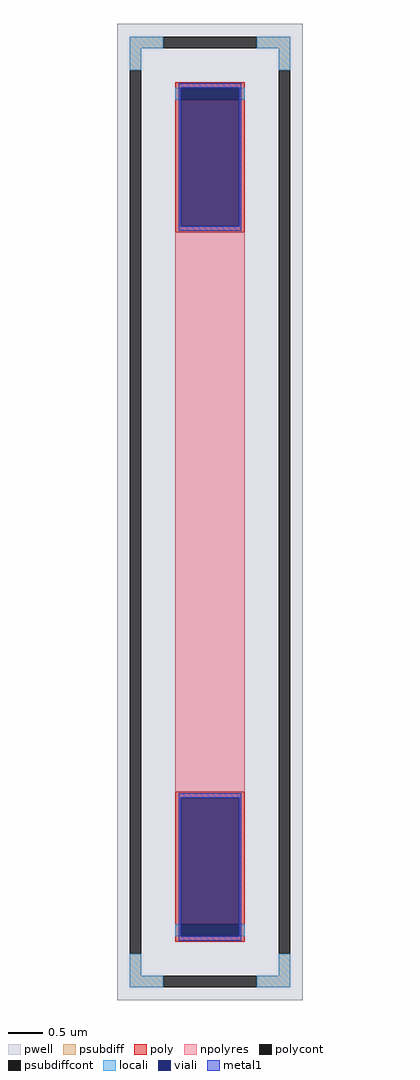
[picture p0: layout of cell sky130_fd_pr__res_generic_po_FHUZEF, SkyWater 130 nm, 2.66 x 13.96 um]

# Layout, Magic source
magic
tech sky130B
magscale 1 2
<< pwell >>
rect -266 -1396 266 1396
<< psubdiff >>
rect -230 1326 -134 1360
rect 134 1326 230 1360
rect -230 1264 -196 1326
rect 196 1264 230 1326
rect -230 -1326 -196 -1264
rect 196 -1326 230 -1264
rect -230 -1360 -134 -1326
rect 134 -1360 230 -1326
<< psubdiffcont >>
rect -134 1326 134 1360
rect -230 -1264 -196 1264
rect 196 -1264 230 1264
rect -134 -1360 134 -1326
<< poly >>
rect -100 1214 100 1230
rect -100 1180 -84 1214
rect 84 1180 100 1214
rect -100 800 100 1180
rect -100 -1180 100 -800
rect -100 -1214 -84 -1180
rect 84 -1214 100 -1180
rect -100 -1230 100 -1214
<< polycont >>
rect -84 1180 84 1214
rect -84 -1214 84 -1180
<< npolyres >>
rect -100 -800 100 800
<< locali >>
rect -230 1326 -134 1360
rect 134 1326 230 1360
rect -230 1264 -196 1326
rect 196 1264 230 1326
rect -100 1180 -84 1214
rect 84 1180 100 1214
rect -100 -1214 -84 -1180
rect 84 -1214 100 -1180
rect -230 -1326 -196 -1264
rect 196 -1326 230 -1264
rect -230 -1360 -134 -1326
rect 134 -1360 230 -1326
<< viali >>
rect -84 1180 84 1214
rect -84 817 84 1180
rect -84 -1180 84 -817
rect -84 -1214 84 -1180
<< metal1 >>
rect -90 1214 90 1226
rect -90 817 -84 1214
rect 84 817 90 1214
rect -90 805 90 817
rect -90 -817 90 -805
rect -90 -1214 -84 -817
rect 84 -1214 90 -817
rect -90 -1226 90 -1214
<< properties >>
string FIXED_BBOX -213 -1343 213 1343
string gencell sky130_fd_pr__res_generic_po
string library sky130
string parameters w 1.0 l 8.0 m 1 nx 1 wmin 0.330 lmin 1.650 rho 48.2 val 385.6 dummy 0 dw 0.0 term 0.0 sterm 0.0 caplen 0.4 snake 0 guard 1 glc 1 grc 1 gtc 1 gbc 1 roverlap 0 endcov 100 full_metal 1 hv_guard 0 n_guard 0 vias 1 viagb 0 viagt 0 viagl 0 viagr 0
<< end >>
